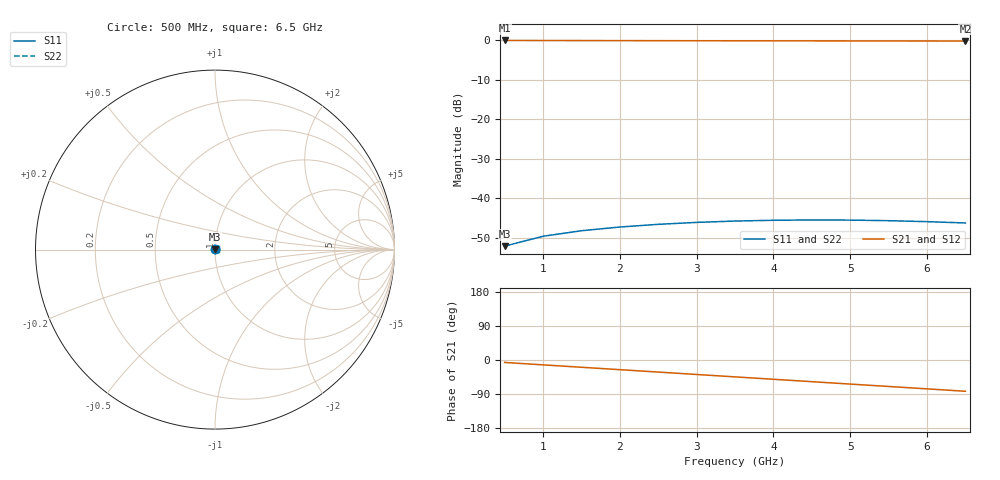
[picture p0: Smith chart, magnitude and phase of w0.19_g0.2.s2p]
! Sonnet Data File
! From: em Version : 19.54.2026
! From Project: w0.19_g0.2
! Data is De-embedded
! Data File Written: 11/09/2026 23:37:27
!< HDATE 11/09/2026 23:36:44
!< MDATE 11/09/2026 23:36:44
# GHZ S RI R 50.00000
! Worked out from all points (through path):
!   13 points, 500 MHz to 6.5 GHz, reference 50 ohm
!   highest |S21| = -0.03 dB at 500 MHz (marker M1); lowest = -0.2 dB at 6.5 GHz (marker M2)
!   group delay of S21, straight-line fit = 35.2 ps
!   lowest |S11| = -52.1 dB at 500 MHz (marker M3), VSWR 1.00, Z = 50.1 + j0.209 ohm
!   |S11| at or under -10 dB: start of sweep to end of sweep
!   |S22| runs from -52.1 to -45.5 dB; largest |S21 - S12| = 1.1e-12
0.5  0.00134 0.00209  0.9907 -0.1119  0.9907 -0.1119  0.00134 0.00209
1  0.00169 0.00284  0.9703 -0.2206  0.9703 -0.2206  0.00169 0.00284
1.5  0.00194 0.00337  0.9383 -0.3262  0.9383 -0.3262  0.00194 0.00337
2  0.00216 0.00375  0.8951 -0.4272  0.8951 -0.4272  0.00216 0.00375
2.5  0.00238 0.00403  0.8411 -0.5227  0.8411 -0.5227  0.00238 0.00403
3  0.00259 0.00422  0.7771 -0.6116  0.7771 -0.6116  0.00259 0.00422
3.5  0.00278 0.00434  0.7039 -0.6926  0.7039 -0.6926  0.00278 0.00434
4  0.00294 0.00437  0.6224 -0.765  0.6224 -0.765  0.00294 0.00437
4.5  0.00307 0.00435  0.5335 -0.8278  0.5335 -0.8278  0.00307 0.00435
5  0.00314 0.00427  0.4384 -0.8804  0.4384 -0.8804  0.00314 0.00427
5.5  0.00315 0.00415  0.3384 -0.9221  0.3384 -0.9221  0.00315 0.00415
6  0.00309 0.00401  0.2345 -0.9525  0.2345 -0.9525  0.00309 0.00401
6.5  0.00296 0.00387  0.1281 -0.9713  0.1281 -0.9713  0.00296 0.00387
